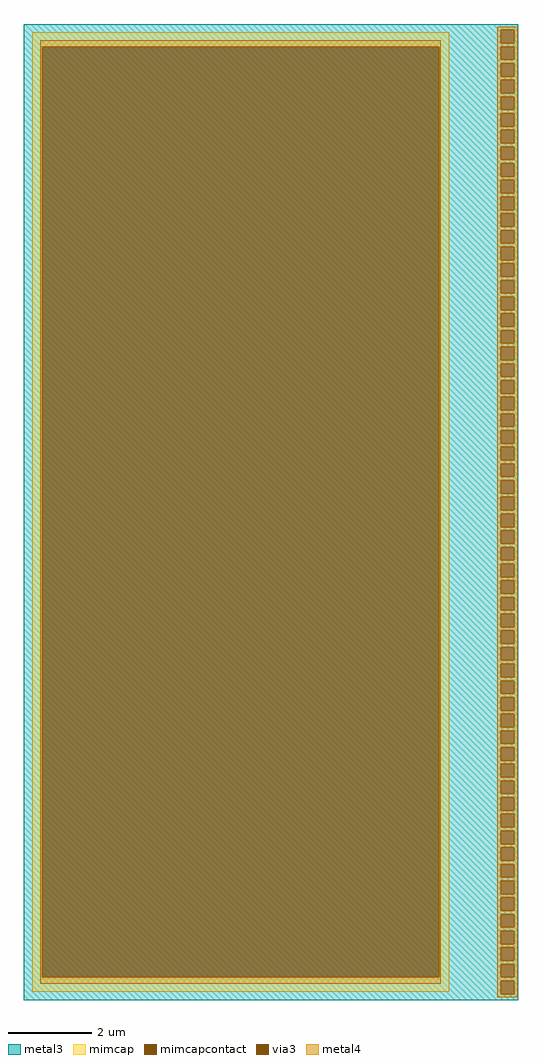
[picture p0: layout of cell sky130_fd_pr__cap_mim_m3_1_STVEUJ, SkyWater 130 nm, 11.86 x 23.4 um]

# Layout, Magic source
magic
tech sky130A
magscale 1 2
<< metal3 >>
rect -1186 2312 1186 2340
rect -1186 2248 1102 2312
rect 1166 2248 1186 2312
rect -1186 2232 1186 2248
rect -1186 2168 1102 2232
rect 1166 2168 1186 2232
rect -1186 2152 1186 2168
rect -1186 2088 1102 2152
rect 1166 2088 1186 2152
rect -1186 2072 1186 2088
rect -1186 2008 1102 2072
rect 1166 2008 1186 2072
rect -1186 1992 1186 2008
rect -1186 1928 1102 1992
rect 1166 1928 1186 1992
rect -1186 1912 1186 1928
rect -1186 1848 1102 1912
rect 1166 1848 1186 1912
rect -1186 1832 1186 1848
rect -1186 1768 1102 1832
rect 1166 1768 1186 1832
rect -1186 1752 1186 1768
rect -1186 1688 1102 1752
rect 1166 1688 1186 1752
rect -1186 1672 1186 1688
rect -1186 1608 1102 1672
rect 1166 1608 1186 1672
rect -1186 1592 1186 1608
rect -1186 1528 1102 1592
rect 1166 1528 1186 1592
rect -1186 1512 1186 1528
rect -1186 1448 1102 1512
rect 1166 1448 1186 1512
rect -1186 1432 1186 1448
rect -1186 1368 1102 1432
rect 1166 1368 1186 1432
rect -1186 1352 1186 1368
rect -1186 1288 1102 1352
rect 1166 1288 1186 1352
rect -1186 1272 1186 1288
rect -1186 1208 1102 1272
rect 1166 1208 1186 1272
rect -1186 1192 1186 1208
rect -1186 1128 1102 1192
rect 1166 1128 1186 1192
rect -1186 1112 1186 1128
rect -1186 1048 1102 1112
rect 1166 1048 1186 1112
rect -1186 1032 1186 1048
rect -1186 968 1102 1032
rect 1166 968 1186 1032
rect -1186 952 1186 968
rect -1186 888 1102 952
rect 1166 888 1186 952
rect -1186 872 1186 888
rect -1186 808 1102 872
rect 1166 808 1186 872
rect -1186 792 1186 808
rect -1186 728 1102 792
rect 1166 728 1186 792
rect -1186 712 1186 728
rect -1186 648 1102 712
rect 1166 648 1186 712
rect -1186 632 1186 648
rect -1186 568 1102 632
rect 1166 568 1186 632
rect -1186 552 1186 568
rect -1186 488 1102 552
rect 1166 488 1186 552
rect -1186 472 1186 488
rect -1186 408 1102 472
rect 1166 408 1186 472
rect -1186 392 1186 408
rect -1186 328 1102 392
rect 1166 328 1186 392
rect -1186 312 1186 328
rect -1186 248 1102 312
rect 1166 248 1186 312
rect -1186 232 1186 248
rect -1186 168 1102 232
rect 1166 168 1186 232
rect -1186 152 1186 168
rect -1186 88 1102 152
rect 1166 88 1186 152
rect -1186 72 1186 88
rect -1186 8 1102 72
rect 1166 8 1186 72
rect -1186 -8 1186 8
rect -1186 -72 1102 -8
rect 1166 -72 1186 -8
rect -1186 -88 1186 -72
rect -1186 -152 1102 -88
rect 1166 -152 1186 -88
rect -1186 -168 1186 -152
rect -1186 -232 1102 -168
rect 1166 -232 1186 -168
rect -1186 -248 1186 -232
rect -1186 -312 1102 -248
rect 1166 -312 1186 -248
rect -1186 -328 1186 -312
rect -1186 -392 1102 -328
rect 1166 -392 1186 -328
rect -1186 -408 1186 -392
rect -1186 -472 1102 -408
rect 1166 -472 1186 -408
rect -1186 -488 1186 -472
rect -1186 -552 1102 -488
rect 1166 -552 1186 -488
rect -1186 -568 1186 -552
rect -1186 -632 1102 -568
rect 1166 -632 1186 -568
rect -1186 -648 1186 -632
rect -1186 -712 1102 -648
rect 1166 -712 1186 -648
rect -1186 -728 1186 -712
rect -1186 -792 1102 -728
rect 1166 -792 1186 -728
rect -1186 -808 1186 -792
rect -1186 -872 1102 -808
rect 1166 -872 1186 -808
rect -1186 -888 1186 -872
rect -1186 -952 1102 -888
rect 1166 -952 1186 -888
rect -1186 -968 1186 -952
rect -1186 -1032 1102 -968
rect 1166 -1032 1186 -968
rect -1186 -1048 1186 -1032
rect -1186 -1112 1102 -1048
rect 1166 -1112 1186 -1048
rect -1186 -1128 1186 -1112
rect -1186 -1192 1102 -1128
rect 1166 -1192 1186 -1128
rect -1186 -1208 1186 -1192
rect -1186 -1272 1102 -1208
rect 1166 -1272 1186 -1208
rect -1186 -1288 1186 -1272
rect -1186 -1352 1102 -1288
rect 1166 -1352 1186 -1288
rect -1186 -1368 1186 -1352
rect -1186 -1432 1102 -1368
rect 1166 -1432 1186 -1368
rect -1186 -1448 1186 -1432
rect -1186 -1512 1102 -1448
rect 1166 -1512 1186 -1448
rect -1186 -1528 1186 -1512
rect -1186 -1592 1102 -1528
rect 1166 -1592 1186 -1528
rect -1186 -1608 1186 -1592
rect -1186 -1672 1102 -1608
rect 1166 -1672 1186 -1608
rect -1186 -1688 1186 -1672
rect -1186 -1752 1102 -1688
rect 1166 -1752 1186 -1688
rect -1186 -1768 1186 -1752
rect -1186 -1832 1102 -1768
rect 1166 -1832 1186 -1768
rect -1186 -1848 1186 -1832
rect -1186 -1912 1102 -1848
rect 1166 -1912 1186 -1848
rect -1186 -1928 1186 -1912
rect -1186 -1992 1102 -1928
rect 1166 -1992 1186 -1928
rect -1186 -2008 1186 -1992
rect -1186 -2072 1102 -2008
rect 1166 -2072 1186 -2008
rect -1186 -2088 1186 -2072
rect -1186 -2152 1102 -2088
rect 1166 -2152 1186 -2088
rect -1186 -2168 1186 -2152
rect -1186 -2232 1102 -2168
rect 1166 -2232 1186 -2168
rect -1186 -2248 1186 -2232
rect -1186 -2312 1102 -2248
rect 1166 -2312 1186 -2248
rect -1186 -2340 1186 -2312
<< via3 >>
rect 1102 2248 1166 2312
rect 1102 2168 1166 2232
rect 1102 2088 1166 2152
rect 1102 2008 1166 2072
rect 1102 1928 1166 1992
rect 1102 1848 1166 1912
rect 1102 1768 1166 1832
rect 1102 1688 1166 1752
rect 1102 1608 1166 1672
rect 1102 1528 1166 1592
rect 1102 1448 1166 1512
rect 1102 1368 1166 1432
rect 1102 1288 1166 1352
rect 1102 1208 1166 1272
rect 1102 1128 1166 1192
rect 1102 1048 1166 1112
rect 1102 968 1166 1032
rect 1102 888 1166 952
rect 1102 808 1166 872
rect 1102 728 1166 792
rect 1102 648 1166 712
rect 1102 568 1166 632
rect 1102 488 1166 552
rect 1102 408 1166 472
rect 1102 328 1166 392
rect 1102 248 1166 312
rect 1102 168 1166 232
rect 1102 88 1166 152
rect 1102 8 1166 72
rect 1102 -72 1166 -8
rect 1102 -152 1166 -88
rect 1102 -232 1166 -168
rect 1102 -312 1166 -248
rect 1102 -392 1166 -328
rect 1102 -472 1166 -408
rect 1102 -552 1166 -488
rect 1102 -632 1166 -568
rect 1102 -712 1166 -648
rect 1102 -792 1166 -728
rect 1102 -872 1166 -808
rect 1102 -952 1166 -888
rect 1102 -1032 1166 -968
rect 1102 -1112 1166 -1048
rect 1102 -1192 1166 -1128
rect 1102 -1272 1166 -1208
rect 1102 -1352 1166 -1288
rect 1102 -1432 1166 -1368
rect 1102 -1512 1166 -1448
rect 1102 -1592 1166 -1528
rect 1102 -1672 1166 -1608
rect 1102 -1752 1166 -1688
rect 1102 -1832 1166 -1768
rect 1102 -1912 1166 -1848
rect 1102 -1992 1166 -1928
rect 1102 -2072 1166 -2008
rect 1102 -2152 1166 -2088
rect 1102 -2232 1166 -2168
rect 1102 -2312 1166 -2248
<< mimcap >>
rect -1146 2232 854 2300
rect -1146 -2232 -1098 2232
rect 806 -2232 854 2232
rect -1146 -2300 854 -2232
<< mimcapcontact >>
rect -1098 -2232 806 2232
<< metal4 >>
rect 1086 2312 1182 2328
rect -1107 2232 815 2261
rect -1107 -2232 -1098 2232
rect 806 -2232 815 2232
rect -1107 -2261 815 -2232
rect 1086 2248 1102 2312
rect 1166 2248 1182 2312
rect 1086 2232 1182 2248
rect 1086 2168 1102 2232
rect 1166 2168 1182 2232
rect 1086 2152 1182 2168
rect 1086 2088 1102 2152
rect 1166 2088 1182 2152
rect 1086 2072 1182 2088
rect 1086 2008 1102 2072
rect 1166 2008 1182 2072
rect 1086 1992 1182 2008
rect 1086 1928 1102 1992
rect 1166 1928 1182 1992
rect 1086 1912 1182 1928
rect 1086 1848 1102 1912
rect 1166 1848 1182 1912
rect 1086 1832 1182 1848
rect 1086 1768 1102 1832
rect 1166 1768 1182 1832
rect 1086 1752 1182 1768
rect 1086 1688 1102 1752
rect 1166 1688 1182 1752
rect 1086 1672 1182 1688
rect 1086 1608 1102 1672
rect 1166 1608 1182 1672
rect 1086 1592 1182 1608
rect 1086 1528 1102 1592
rect 1166 1528 1182 1592
rect 1086 1512 1182 1528
rect 1086 1448 1102 1512
rect 1166 1448 1182 1512
rect 1086 1432 1182 1448
rect 1086 1368 1102 1432
rect 1166 1368 1182 1432
rect 1086 1352 1182 1368
rect 1086 1288 1102 1352
rect 1166 1288 1182 1352
rect 1086 1272 1182 1288
rect 1086 1208 1102 1272
rect 1166 1208 1182 1272
rect 1086 1192 1182 1208
rect 1086 1128 1102 1192
rect 1166 1128 1182 1192
rect 1086 1112 1182 1128
rect 1086 1048 1102 1112
rect 1166 1048 1182 1112
rect 1086 1032 1182 1048
rect 1086 968 1102 1032
rect 1166 968 1182 1032
rect 1086 952 1182 968
rect 1086 888 1102 952
rect 1166 888 1182 952
rect 1086 872 1182 888
rect 1086 808 1102 872
rect 1166 808 1182 872
rect 1086 792 1182 808
rect 1086 728 1102 792
rect 1166 728 1182 792
rect 1086 712 1182 728
rect 1086 648 1102 712
rect 1166 648 1182 712
rect 1086 632 1182 648
rect 1086 568 1102 632
rect 1166 568 1182 632
rect 1086 552 1182 568
rect 1086 488 1102 552
rect 1166 488 1182 552
rect 1086 472 1182 488
rect 1086 408 1102 472
rect 1166 408 1182 472
rect 1086 392 1182 408
rect 1086 328 1102 392
rect 1166 328 1182 392
rect 1086 312 1182 328
rect 1086 248 1102 312
rect 1166 248 1182 312
rect 1086 232 1182 248
rect 1086 168 1102 232
rect 1166 168 1182 232
rect 1086 152 1182 168
rect 1086 88 1102 152
rect 1166 88 1182 152
rect 1086 72 1182 88
rect 1086 8 1102 72
rect 1166 8 1182 72
rect 1086 -8 1182 8
rect 1086 -72 1102 -8
rect 1166 -72 1182 -8
rect 1086 -88 1182 -72
rect 1086 -152 1102 -88
rect 1166 -152 1182 -88
rect 1086 -168 1182 -152
rect 1086 -232 1102 -168
rect 1166 -232 1182 -168
rect 1086 -248 1182 -232
rect 1086 -312 1102 -248
rect 1166 -312 1182 -248
rect 1086 -328 1182 -312
rect 1086 -392 1102 -328
rect 1166 -392 1182 -328
rect 1086 -408 1182 -392
rect 1086 -472 1102 -408
rect 1166 -472 1182 -408
rect 1086 -488 1182 -472
rect 1086 -552 1102 -488
rect 1166 -552 1182 -488
rect 1086 -568 1182 -552
rect 1086 -632 1102 -568
rect 1166 -632 1182 -568
rect 1086 -648 1182 -632
rect 1086 -712 1102 -648
rect 1166 -712 1182 -648
rect 1086 -728 1182 -712
rect 1086 -792 1102 -728
rect 1166 -792 1182 -728
rect 1086 -808 1182 -792
rect 1086 -872 1102 -808
rect 1166 -872 1182 -808
rect 1086 -888 1182 -872
rect 1086 -952 1102 -888
rect 1166 -952 1182 -888
rect 1086 -968 1182 -952
rect 1086 -1032 1102 -968
rect 1166 -1032 1182 -968
rect 1086 -1048 1182 -1032
rect 1086 -1112 1102 -1048
rect 1166 -1112 1182 -1048
rect 1086 -1128 1182 -1112
rect 1086 -1192 1102 -1128
rect 1166 -1192 1182 -1128
rect 1086 -1208 1182 -1192
rect 1086 -1272 1102 -1208
rect 1166 -1272 1182 -1208
rect 1086 -1288 1182 -1272
rect 1086 -1352 1102 -1288
rect 1166 -1352 1182 -1288
rect 1086 -1368 1182 -1352
rect 1086 -1432 1102 -1368
rect 1166 -1432 1182 -1368
rect 1086 -1448 1182 -1432
rect 1086 -1512 1102 -1448
rect 1166 -1512 1182 -1448
rect 1086 -1528 1182 -1512
rect 1086 -1592 1102 -1528
rect 1166 -1592 1182 -1528
rect 1086 -1608 1182 -1592
rect 1086 -1672 1102 -1608
rect 1166 -1672 1182 -1608
rect 1086 -1688 1182 -1672
rect 1086 -1752 1102 -1688
rect 1166 -1752 1182 -1688
rect 1086 -1768 1182 -1752
rect 1086 -1832 1102 -1768
rect 1166 -1832 1182 -1768
rect 1086 -1848 1182 -1832
rect 1086 -1912 1102 -1848
rect 1166 -1912 1182 -1848
rect 1086 -1928 1182 -1912
rect 1086 -1992 1102 -1928
rect 1166 -1992 1182 -1928
rect 1086 -2008 1182 -1992
rect 1086 -2072 1102 -2008
rect 1166 -2072 1182 -2008
rect 1086 -2088 1182 -2072
rect 1086 -2152 1102 -2088
rect 1166 -2152 1182 -2088
rect 1086 -2168 1182 -2152
rect 1086 -2232 1102 -2168
rect 1166 -2232 1182 -2168
rect 1086 -2248 1182 -2232
rect 1086 -2312 1102 -2248
rect 1166 -2312 1182 -2248
rect 1086 -2328 1182 -2312
<< properties >>
string FIXED_BBOX -1186 -2340 894 2340
<< end >>
